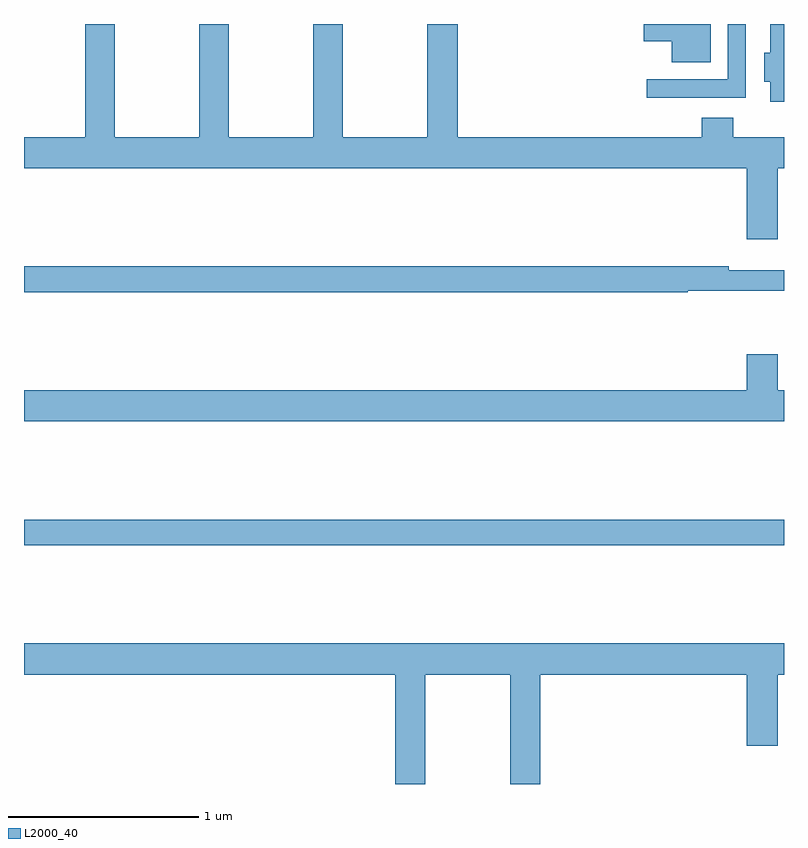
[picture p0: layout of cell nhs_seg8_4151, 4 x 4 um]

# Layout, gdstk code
import gdstk
lib = gdstk.Library(unit=1e-6, precision=1e-09)
def R(c, l, rs):  # rectangles x0, y0, x1, y1
    for r in rs: c.add(gdstk.rectangle(r[:2], r[2:], *l))
def P(c, l, *ps):  # polygons
    for p in ps: c.add(gdstk.Polygon(p, *l))
L2000_40 = (2000, 40)

nhs_seg8_4151 = lib.new_cell('nhs_seg8_4151')
R(nhs_seg8_4151, L2000_40, [(365,1141.156,369,1141.292)])
P(nhs_seg8_4151, L2000_40, [(369,1143.9),(368.928,1143.9),(368.928,1143.749),(368.897,1143.749),(368.897,1143.596),(368.928,1143.596),(368.928,1143.491),(369,1143.491)],
  [(368.968,1143.14),(369,1143.14),(369,1143.304),(368.732,1143.304),(368.732,1143.406),(368.567,1143.406),(368.567,1143.304),(367.283,1143.304),(367.283,1143.9),(367.123,1143.9),(367.123,1143.304),(366.678,1143.304),(366.678,1143.9),(366.523,1143.9),(366.523,1143.304),(366.078,1143.304),(366.078,1143.9),(365.923,1143.9),(365.923,1143.304),(365.478,1143.304),(365.478,1143.9),(365.323,1143.9),(365.323,1143.304),(365,1143.304),(365,1143.14),(368.804,1143.14),(368.804,1142.766),(368.968,1142.766)],
  [(368.614,1143.9),(368.262,1143.9),(368.262,1143.809),(368.408,1143.809),(368.408,1143.698),(368.614,1143.698)],
  [(368.799,1143.9),(368.703,1143.9),(368.703,1143.609),(368.277,1143.609),(368.277,1143.513),(368.799,1143.513)],
  [(368.494,1142.496),(369,1142.496),(369,1142.605),(368.708,1142.605),(368.708,1142.624),(365,1142.624),(365,1142.488),(368.494,1142.488)],
  [(368.804,1142.161),(368.804,1141.972),(365,1141.972),(365,1141.808),(369,1141.808),(369,1141.972),(368.968,1141.972),(368.968,1142.161)],
  [(367.113,1140.476),(367.558,1140.476),(367.558,1139.9),(367.718,1139.9),(367.718,1140.476),(368.804,1140.476),(368.804,1140.102),(368.968,1140.102),(368.968,1140.476),(369,1140.476),(369,1140.64),(365,1140.64),(365,1140.476),(366.953,1140.476),(366.953,1139.9),(367.113,1139.9)])

lib.write_gds('nhs_seg8_4151.gds')
